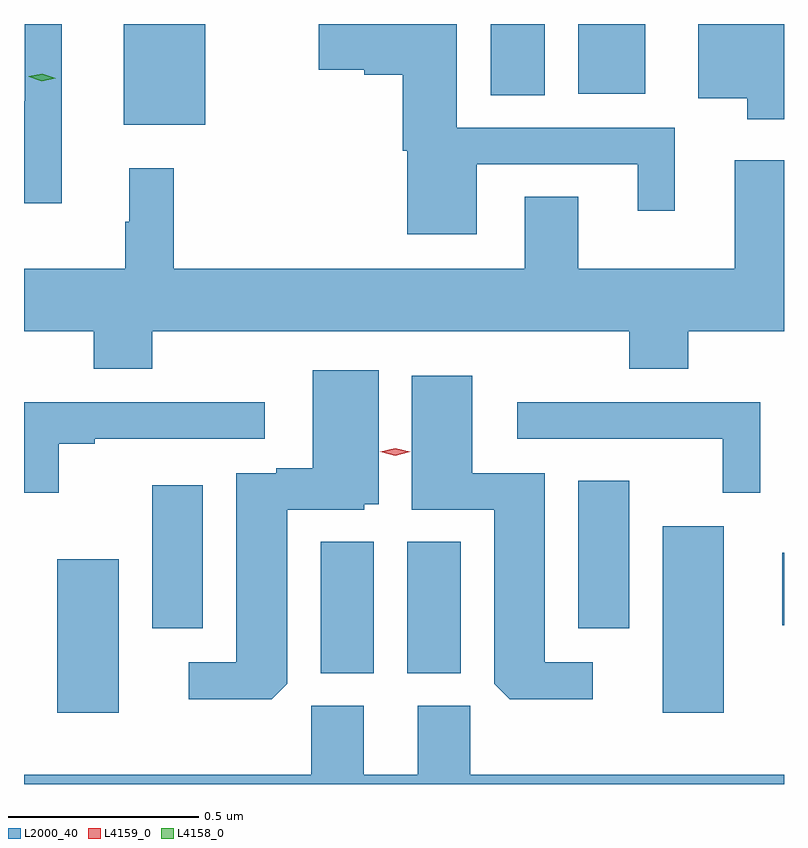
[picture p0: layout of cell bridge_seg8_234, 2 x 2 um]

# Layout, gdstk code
import gdstk
lib = gdstk.Library(unit=1e-6, precision=1e-09)
def R(c, l, rs):  # rectangles x0, y0, x1, y1
    for r in rs: c.add(gdstk.rectangle(r[:2], r[2:], *l))
def P(c, l, *ps):  # polygons
    for p in ps: c.add(gdstk.Polygon(p, *l))
L2000_40 = (2000, 40)
L4158_0 = (4158, 0)
L4159_0 = (4159, 0)

bridge_seg8_234 = lib.new_cell('bridge_seg8_234')
R(bridge_seg8_234, L2000_40, [(261.893,1139.472,262.054,1139.875), (263.486,1139.472,263.647,1139.962), (262.586,1139.575,262.726,1139.921), (262.814,1139.575,262.954,1139.921), (262.142,1139.694,262.276,1140.07), (263.264,1139.694,263.398,1140.082), (263.801,1139.702,263.805,1139.893), (262.067,1141.019,262.282,1141.284), (263.033,1141.096,263.176,1141.284), (263.264,1141.1,263.44,1141.284)])
P(bridge_seg8_234, L2000_40, [(261.904,1141.284),(261.807,1141.284),(261.807,1141.081),(261.805,1141.081),(261.805,1140.812),(261.904,1140.812)],
  [(262.996,1140.915),(263.42,1140.915),(263.42,1140.792),(263.518,1140.792),(263.518,1141.011),(262.944,1141.011),(262.944,1141.284),(262.58,1141.284),(262.58,1141.163),(262.701,1141.163),(262.701,1141.151),(262.802,1141.151),(262.802,1140.951),(262.814,1140.951),(262.814,1140.731),(262.996,1140.731)],
  [(263.805,1141.284),(263.579,1141.284),(263.579,1141.088),(263.708,1141.088),(263.708,1141.034),(263.805,1141.034)],
  [(262.143,1140.476),(263.398,1140.476),(263.398,1140.377),(263.553,1140.377),(263.553,1140.476),(263.805,1140.476),(263.805,1140.925),(263.675,1140.925),(263.675,1140.64),(263.263,1140.64),(263.263,1140.83),(263.123,1140.83),(263.123,1140.64),(262.199,1140.64),(262.199,1140.904),(262.082,1140.904),(262.082,1140.764),(262.071,1140.764),(262.071,1140.64),(261.805,1140.64),(261.805,1140.476),(261.988,1140.476),(261.988,1140.377),(262.143,1140.377)],
  [(262.498,1139.548),(262.498,1140.006),(262.701,1140.006),(262.701,1140.02),(262.738,1140.02),(262.738,1140.373),(262.565,1140.373),(262.565,1140.115),(262.469,1140.115),(262.469,1140.102),(262.364,1140.102),(262.364,1139.604),(262.239,1139.604),(262.239,1139.507),(262.457,1139.507)],
  [(263.302,1139.604),(263.176,1139.604),(263.176,1140.102),(262.984,1140.102),(262.984,1140.358),(262.826,1140.358),(262.826,1140.006),(263.042,1140.006),(263.042,1139.548),(263.083,1139.507),(263.302,1139.507)],
  [(261.897,1140.18),(261.991,1140.18),(261.991,1140.192),(262.438,1140.192),(262.438,1140.288),(261.805,1140.288),(261.805,1140.051),(261.897,1140.051)],
  [(263.742,1140.288),(263.103,1140.288),(263.103,1140.192),(263.644,1140.192),(263.644,1140.051),(263.742,1140.051)],
  [(263.805,1139.308),(262.979,1139.308),(262.979,1139.49),(262.841,1139.49),(262.841,1139.308),(262.699,1139.308),(262.699,1139.49),(262.561,1139.49),(262.561,1139.308),(261.805,1139.308),(261.805,1139.284),(263.805,1139.284)])
P(bridge_seg8_234, L4158_0, [(261.852,1141.133),(261.817,1141.145),(261.817,1141.145),(261.817,1141.146),(261.853,1141.153),(261.888,1141.141),(261.888,1141.141),(261.888,1141.141)])
P(bridge_seg8_234, L4159_0, [(262.782,1140.148),(262.742,1140.158),(262.742,1140.158),(262.742,1140.159),(262.782,1140.168),(262.822,1140.158),(262.822,1140.158),(262.822,1140.158)])

lib.write_gds('bridge_seg8_234.gds')
